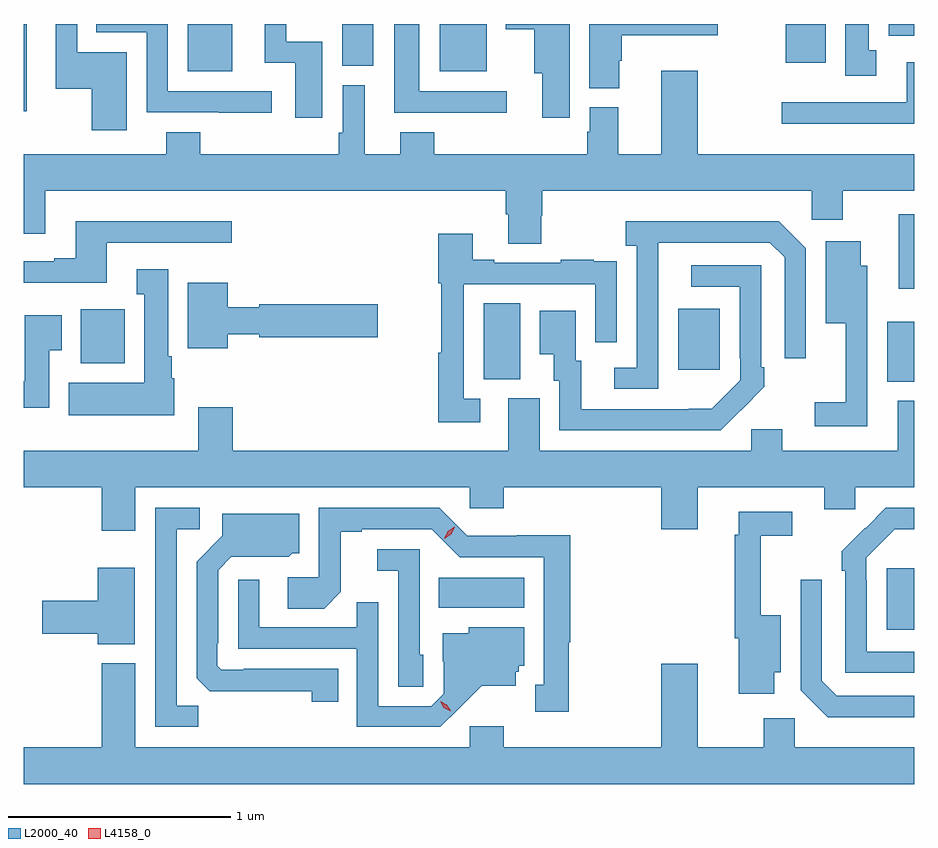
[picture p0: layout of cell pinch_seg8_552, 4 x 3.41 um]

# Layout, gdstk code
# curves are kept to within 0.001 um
import gdstk
lib = gdstk.Library(unit=1e-6, precision=1e-09)
def R(c, l, rs):  # rectangles x0, y0, x1, y1
    for r in rs: c.add(gdstk.rectangle(r[:2], r[2:], *l))
def P(c, l, *ps):  # polygons
    for p in ps: c.add(gdstk.Polygon(p, *l))
L2000_40 = (2000, 40)
L4158_0 = (4158, 0)

pinch_seg8_552 = lib.new_cell('pinch_seg8_552')
R(pinch_seg8_552, L2000_40, [(142.043,1117.193,142.168,1117.468), (140.032,1117.292,140.416,1117.426), (142.046,1118.306,142.168,1118.575), (140.234,1118.317,140.398,1118.66), (141.107,1118.361,141.295,1118.635), (138.425,1118.39,138.622,1118.632), (142.098,1118.723,142.168,1119.058), (138.168,1119.522,138.183,1119.913), (138.905,1119.701,139.105,1119.913), (140.036,1119.701,140.248,1119.913), (139.598,1119.726,139.738,1119.913), (141.59,1119.74,141.769,1119.913), (142.052,1119.86,142.168,1119.913)])
P(pinch_seg8_552, L2000_40, [(140.338,1119.612),(139.945,1119.612),(139.945,1119.913),(139.832,1119.913),(139.832,1119.515),(140.338,1119.515)],
  [(139.51,1119.834),(139.348,1119.834),(139.348,1119.913),(139.25,1119.913),(139.25,1119.738),(139.388,1119.738),(139.388,1119.492),(139.51,1119.492)],
  [(140.842,1119.749),(140.855,1119.749),(140.855,1119.863),(141.286,1119.863),(141.286,1119.913),(140.708,1119.913),(140.708,1119.625),(140.842,1119.625)],
  [(139.282,1119.612),(138.816,1119.612),(138.816,1119.913),(138.493,1119.913),(138.493,1119.875),(138.72,1119.875),(138.72,1119.516),(139.045,1119.516),(139.045,1119.515),(139.282,1119.515)],
  [(140.62,1119.913),(140.333,1119.913),(140.333,1119.89),(140.462,1119.89),(140.462,1119.692),(140.498,1119.692),(140.498,1119.492),(140.62,1119.492)],
  [(141.997,1119.794),(141.964,1119.794),(141.964,1119.913),(141.857,1119.913),(141.857,1119.681),(141.997,1119.681)],
  [(138.631,1119.787),(138.408,1119.787),(138.408,1119.913),(138.312,1119.913),(138.312,1119.622),(138.473,1119.622),(138.473,1119.435),(138.631,1119.435)],
  [(142.168,1119.742),(142.133,1119.742),(142.133,1119.561),(141.573,1119.561),(141.573,1119.464),(142.168,1119.464)],
  [(140.493,1119.051),(140.498,1119.051),(140.498,1119.164),(141.708,1119.164),(141.708,1119.033),(141.847,1119.033),(141.847,1119.164),(142.168,1119.164),(142.168,1119.328),(141.196,1119.328),(141.196,1119.703),(141.032,1119.703),(141.032,1119.328),(140.839,1119.328),(140.839,1119.54),(140.711,1119.54),(140.711,1119.429),(140.699,1119.429),(140.699,1119.328),(140.012,1119.328),(140.012,1119.427),(139.859,1119.427),(139.859,1119.328),(139.699,1119.328),(139.699,1119.637),(139.602,1119.637),(139.602,1119.424),(139.582,1119.424),(139.582,1119.328),(138.962,1119.328),(138.962,1119.427),(138.809,1119.427),(138.809,1119.328),(138.168,1119.328),(138.168,1118.97),(138.265,1118.97),(138.265,1119.164),(140.333,1119.164),(140.333,1119.058),(140.345,1119.058),(140.345,1118.926),(140.493,1118.926)],
  [(138.541,1118.931),(139.102,1118.931),(139.102,1119.028),(138.401,1119.028),(138.401,1118.86),(138.305,1118.86),(138.305,1118.847),(138.168,1118.847),(138.168,1118.75),(138.541,1118.75)],
  [(141.018,1118.731),(141.019,1118.931),(141.519,1118.931),(141.585,1118.865),(141.585,1118.412),(141.681,1118.412),(141.681,1118.905),(141.558,1119.028),(140.871,1119.028),(140.871,1118.918),(140.922,1118.918),(140.922,1118.37),(140.82,1118.37),(140.82,1118.274),(141.018,1118.274)],
  [(140.218,1118.229),(140.145,1118.229),(140.145,1118.745),(140.736,1118.745),(140.736,1118.484),(140.832,1118.484),(140.832,1118.738),(140.831,1118.738),(140.831,1118.847),(140.729,1118.847),(140.729,1118.854),(140.581,1118.854),(140.581,1118.841),(140.281,1118.841),(140.281,1118.854),(140.185,1118.854),(140.185,1118.971),(140.029,1118.971),(140.029,1118.748),(140.044,1118.748),(140.044,1118.436),(140.029,1118.436),(140.029,1118.124),(140.218,1118.124)],
  [(141.957,1118.827),(141.928,1118.827),(141.928,1118.938),(141.77,1118.938),(141.77,1118.57),(141.86,1118.57),(141.86,1118.215),(141.72,1118.215),(141.72,1118.106),(141.957,1118.106)],
  [(141.389,1118.179),(141.39,1118.178),(141.495,1118.283),(141.495,1118.371),(141.48,1118.371),(141.48,1118.829),(141.165,1118.829),(141.165,1118.733),(141.384,1118.733),(141.384,1118.413),(141.387,1118.413),(141.387,1118.313),(141.259,1118.185),(140.671,1118.184),(140.671,1118.4),(140.647,1118.4),(140.647,1118.626),(140.486,1118.626),(140.486,1118.429),(140.549,1118.429),(140.549,1118.31),(140.574,1118.31),(140.574,1118.088),(141.298,1118.088)],
  [(138.844,1118.322),(138.832,1118.322),(138.832,1118.422),(138.817,1118.422),(138.817,1118.812),(138.677,1118.812),(138.677,1118.699),(138.71,1118.699),(138.71,1118.302),(138.371,1118.302),(138.371,1118.156),(138.844,1118.156)],
  [(139.084,1118.52),(139.227,1118.52),(139.227,1118.507),(139.759,1118.507),(139.759,1118.654),(139.227,1118.654),(139.227,1118.641),(139.084,1118.641),(139.084,1118.752),(138.905,1118.752),(138.905,1118.456),(139.084,1118.456)],
  [(138.283,1118.449),(138.34,1118.449),(138.34,1118.605),(138.173,1118.605),(138.173,1118.308),(138.168,1118.308),(138.168,1118.19),(138.283,1118.19)],
  [(138.67,1117.832),(140.172,1117.832),(140.172,1117.739),(140.324,1117.739),(140.324,1117.832),(141.032,1117.832),(141.032,1117.644),(141.196,1117.644),(141.196,1117.832),(141.764,1117.832),(141.764,1117.734),(141.903,1117.734),(141.903,1117.832),(142.168,1117.832),(142.168,1118.221),(142.094,1118.221),(142.094,1117.996),(141.574,1117.996),(141.574,1118.094),(141.435,1118.094),(141.435,1117.996),(140.485,1117.996),(140.485,1118.232),(140.345,1118.232),(140.345,1117.996),(139.106,1117.996),(139.106,1118.191),(138.953,1118.191),(138.953,1117.996),(138.168,1117.996),(138.168,1117.832),(138.518,1117.832),(138.518,1117.638),(138.67,1117.638)],
  [(142.168,1117.095),(141.954,1117.095),(141.954,1117.415),(141.951,1117.415),(141.951,1117.515),(142.08,1117.644),(142.168,1117.644),(142.168,1117.74),(142.04,1117.74),(141.843,1117.545),(141.843,1117.457),(141.858,1117.457),(141.858,1116.999),(142.168,1116.999)],
  [(138.951,1116.851),(138.855,1116.851),(138.855,1117.644),(138.958,1117.644),(138.958,1117.74),(138.759,1117.74),(138.759,1116.756),(138.951,1116.756)],
  [(140.615,1117.137),(140.623,1117.137),(140.623,1117.616),(140.382,1117.616),(140.382,1117.614),(140.16,1117.614),(140.034,1117.74),(139.494,1117.74),(139.494,1117.428),(139.353,1117.428),(139.353,1117.288),(139.517,1117.288),(139.593,1117.364),(139.593,1117.632),(139.687,1117.632),(139.687,1117.644),(140.001,1117.644),(140.127,1117.518),(140.504,1117.518),(140.504,1116.945),(140.465,1116.945),(140.465,1116.825),(140.615,1116.825)],
  [(141.538,1117.001),(141.568,1117.001),(141.568,1117.258),(141.479,1117.258),(141.479,1117.614),(141.619,1117.614),(141.619,1117.722),(141.38,1117.722),(141.38,1117.619),(141.361,1117.619),(141.361,1117.154),(141.38,1117.154),(141.38,1116.906),(141.538,1116.906)],
  [(139.58,1117.017),(139.156,1117.017),(139.156,1117.014),(139.056,1117.014),(139.038,1117.032),(139.038,1117.132),(139.041,1117.132),(139.041,1117.461),(139.101,1117.521),(139.358,1117.52),(139.374,1117.536),(139.405,1117.536),(139.405,1117.714),(139.061,1117.714),(139.061,1117.614),(138.945,1117.498),(138.945,1116.976),(139.004,1116.917),(139.462,1116.916),(139.462,1116.87),(139.58,1116.87)],
  [(139.962,1117.08),(139.947,1117.08),(139.947,1117.554),(139.755,1117.554),(139.755,1117.457),(139.851,1117.457),(139.851,1116.937),(139.962,1116.937)],
  [(138.667,1117.471),(138.5,1117.471),(138.5,1117.322),(138.252,1117.322),(138.252,1117.175),(138.5,1117.175),(138.5,1117.127),(138.667,1117.127)],
  [(142.168,1116.897),(141.819,1116.897),(141.753,1116.963),(141.753,1117.417),(141.657,1117.417),(141.657,1116.921),(141.778,1116.8),(142.168,1116.8)],
  [(140.122,1116.839),(140.225,1116.941),(140.377,1116.941),(140.377,1117.005),(140.391,1117.005),(140.391,1117.032),(140.416,1117.032),(140.416,1117.204),(140.166,1117.204),(140.166,1117.177),(140.051,1117.177),(140.051,1117.048),(140.055,1117.048),(140.055,1116.906),(139.998,1116.849),(139.761,1116.849),(139.761,1117.316),(139.663,1117.316),(139.663,1117.203),(139.227,1117.203),(139.227,1117.417),(139.131,1117.417),(139.131,1117.107),(139.665,1117.107),(139.665,1116.756),(140.038,1116.756)],
  [(142.168,1116.664),(141.63,1116.664),(141.63,1116.796),(141.491,1116.796),(141.491,1116.664),(141.196,1116.664),(141.196,1117.039),(141.032,1117.039),(141.032,1116.664),(140.324,1116.664),(140.324,1116.76),(140.172,1116.76),(140.172,1116.664),(138.67,1116.664),(138.67,1117.042),(138.518,1117.042),(138.518,1116.664),(138.168,1116.664),(138.168,1116.5),(142.168,1116.5)])
P(pinch_seg8_552, L4158_0, [(140.056,1117.602),(140.056,1117.602),(140.073,1117.635),(140.104,1117.655),(140.105,1117.655),(140.105,1117.654),(140.088,1117.622),(140.056,1117.602)],
  [(140.085,1116.827),(140.055,1116.842),(140.038,1116.871),(140.038,1116.872),(140.038,1116.872),(140.068,1116.857),(140.086,1116.828),(140.086,1116.827)])

lib.write_gds('pinch_seg8_552.gds')
